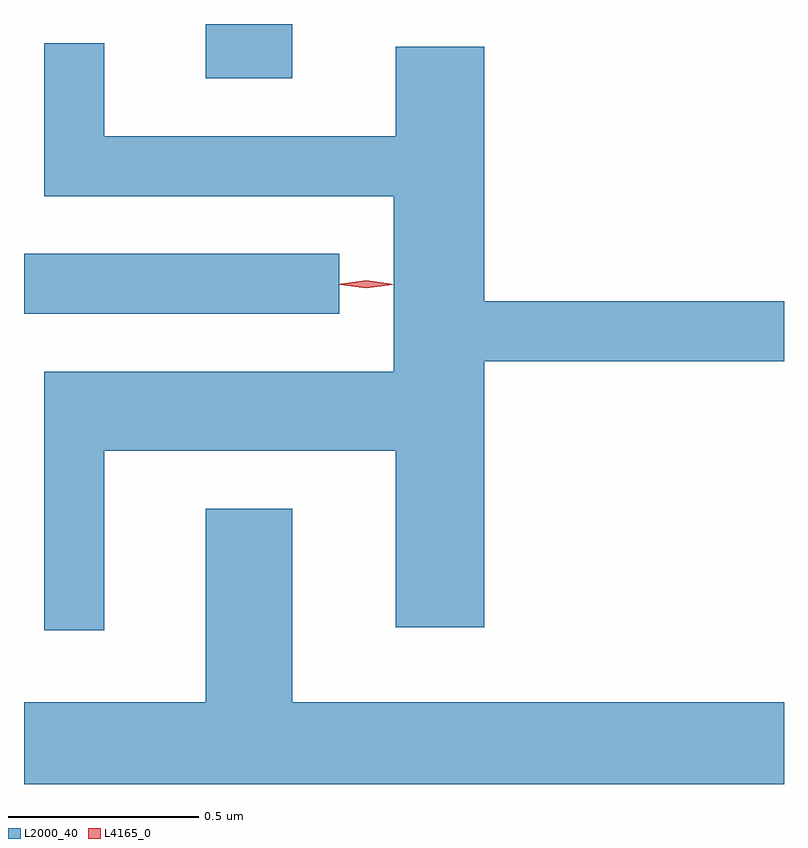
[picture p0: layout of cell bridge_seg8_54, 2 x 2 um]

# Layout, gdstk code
import gdstk
lib = gdstk.Library(unit=1e-6, precision=1e-09)
def R(c, l, rs):  # rectangles x0, y0, x1, y1
    for r in rs: c.add(gdstk.rectangle(r[:2], r[2:], *l))
def P(c, l, *ps):  # polygons
    for p in ps: c.add(gdstk.Polygon(p, *l))
L2000_40 = (2000, 40)
L4165_0 = (4165, 0)

bridge_seg8_54 = lib.new_cell('bridge_seg8_54')
R(bridge_seg8_54, L2000_40, [(1549.983,1906.526,1550.813,1906.684), (1550.461,1907.146,1550.689,1907.289)])
P(bridge_seg8_54, L2000_40, [(1550.194,1906.166),(1550.961,1906.166),(1550.961,1905.701),(1551.194,1905.701),(1551.194,1906.401),(1551.983,1906.401),(1551.983,1906.559),(1551.194,1906.559),(1551.194,1907.229),(1550.961,1907.229),(1550.961,1906.994),(1550.194,1906.994),(1550.194,1907.238),(1550.036,1907.238),(1550.036,1906.836),(1550.956,1906.836),(1550.956,1906.374),(1550.036,1906.374),(1550.036,1905.693),(1550.194,1905.693)],
  [(1551.983,1905.504),(1550.689,1905.504),(1550.689,1906.014),(1550.461,1906.014),(1550.461,1905.504),(1549.983,1905.504),(1549.983,1905.289),(1551.983,1905.289)])
P(bridge_seg8_54, L4165_0, [(1550.883,1906.595),(1550.818,1906.604),(1550.817,1906.605),(1550.818,1906.606),(1550.883,1906.615),(1550.948,1906.606),(1550.948,1906.605),(1550.948,1906.604)],
  [(1550.883,1906.593),(1550.814,1906.603),(1550.814,1906.603),(1550.814,1906.604),(1550.883,1906.613),(1550.952,1906.604),(1550.953,1906.603),(1550.952,1906.603)])

lib.write_gds('bridge_seg8_54.gds')
